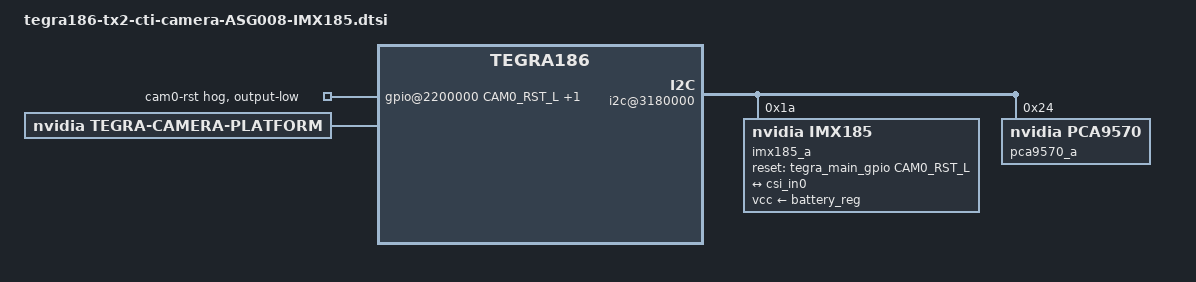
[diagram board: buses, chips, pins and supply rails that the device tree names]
    

#include <t18x-common-platforms/tegra186-tx2-cti-camera-base.dtsi>
#include "dt-bindings/clock/tegra186-clock.h"


/* camera control gpio definitions */

#define CAM0_RST_L  TEGRA_MAIN_GPIO(R, 5)
#define CAM0_PWDN   TEGRA_MAIN_GPIO(R, 0)


/ {
    
    gpio@2200000 {
        camera-control-output-low {
            gpio-hog;
            output-low;
            gpios = <CAM0_RST_L 0 CAM0_PWDN 0>;
            label = "cam0-rst", "cam0-pwdn";
        };
    };


/**********************SENSORS******************************************************************/

	i2c@3180000 {   
        imx185_a@1a {
            compatible = "nvidia,imx185";
            reg = <0x1a>;
            devnode = "video0";

            /* Physical dimensions of sensor */
            physical_w = "15";
            physical_h = "12.5";
            clocks = <&tegra_car TEGRA186_CLK_EXTPERIPH1>,
                     <&tegra_car TEGRA186_CLK_PLLP_OUT0>;
            clock-names = "extperiph1", "pllp_grtba";
            mclk = "extperiph1";
            sensor_model = "imx185";

            post_crop_frame_drop = "0";
            use_decibel_gain = "true";
            delayed_gain = "true";
            use_sensor_mode_id = "true";


            reset-gpios = <&tegra_main_gpio CAM0_RST_L GPIO_ACTIVE_HIGH>;
            vcc-supply = <&battery_reg>;
            vcc_lp = "vcc";

            mode0 {/*mode IMX185_MODE_1920X1080_CROP_30FPS*/
                    mclk_khz = "37125";
                    num_lanes = "4";
                    tegra_sinterface = "serial_a";
                    discontinuous_clk = "no";
                    dpcm_enable = "false";
                    cil_settletime = "0";
                    dynamic_pixel_bit_depth = "12";
                    csi_pixel_bit_depth = "12";
                    mode_type = "bayer";
                    pixel_phase = "rggb";
                    pixel_t = "bayer_rggb";

                    active_w = "1920";
                    active_h = "1080";
                    readout_orientation = "0";
                    line_length = "2200";
                    inherent_gain = "1";
                    mclk_multiplier = "2";
                    pix_clk_hz = "74250000";

                    min_gain_val = "0"; /* dB */
                    max_gain_val = "48"; /* dB */
                    min_hdr_ratio = "1";
                    max_hdr_ratio = "1";
                    min_framerate = "1.5";
                    max_framerate = "30";
                    min_exp_time = "30";
                    max_exp_time = "660000";
                    embedded_metadata_height = "1";
            };


            mode1 {/*mode IMX185_MODE_1920X1080_CROP_10BIT_30FPS*/
                    mclk_khz = "37125";
                    num_lanes = "4";
                    tegra_sinterface = "serial_a";
                    discontinuous_clk = "no";
                    dpcm_enable = "false";
                    cil_settletime = "0";
                    dynamic_pixel_bit_depth = "10";
                    csi_pixel_bit_depth = "10";
                    mode_type = "bayer";
                    pixel_phase = "rggb";
                    pixel_t = "bayer_rggb";

                    active_w = "1920";
                    active_h = "1080";
                    readout_orientation = "0";
                    line_length = "2640";
                    inherent_gain = "1";
                    mclk_multiplier = "2.4";
                    pix_clk_hz = "89100000";

                    min_gain_val = "0";
                    max_gain_val = "48";
                    min_hdr_ratio = "1";
                    max_hdr_ratio = "1";
                    min_framerate = "1.5";
                    max_framerate = "30";
                    min_exp_time = "30";
                    max_exp_time = "660000";
                    embedded_metadata_height = "1";
            };
            mode2 {/*mode IMX185_MODE_1920X1080_CROP_60FPS*/
                    mclk_khz = "37125";
                    num_lanes = "4";
                    tegra_sinterface = "serial_a";
                    discontinuous_clk = "no";
                    dpcm_enable = "false";
                    cil_settletime = "0";
                    dynamic_pixel_bit_depth = "12";
                    csi_pixel_bit_depth = "12";
                    mode_type = "bayer";
                    pixel_phase = "rggb";
                    pixel_t = "bayer_rggb";
                    active_w = "1920";
                    active_h = "1080";
                    readout_orientation = "0";
                    line_length = "2200";
                    inherent_gain = "1";
                    mclk_multiplier = "4";
                    pix_clk_hz = "148500000";

                    min_gain_val = "0";
                    max_gain_val = "48";
                    min_hdr_ratio = "1";
                    max_hdr_ratio = "1";
                    min_framerate = "1.5";
                    max_framerate = "60";
                    min_exp_time = "30";
                    max_exp_time = "660000";
                    embedded_metadata_height = "1";
                };
                mode3 {/*mode IMX185_MODE_1920X1080_CROP_10BIT_60FPS*/
                    mclk_khz = "37125";
                    num_lanes = "4";
                    tegra_sinterface = "serial_a";
                    discontinuous_clk = "no";
                    dpcm_enable = "false";
                    cil_settletime = "0";
                    dynamic_pixel_bit_depth = "10";
                    csi_pixel_bit_depth = "10";
                    mode_type = "bayer";
                    pixel_phase = "rggb";
                    pixel_t = "bayer_rggb";
                    active_w = "1920";
                    active_h = "1080";
                    readout_orientation = "0";
                    line_length = "2640";
                    inherent_gain = "1";
                    mclk_multiplier = "4.8";
                    pix_clk_hz = "178200000";

                    min_gain_val = "0";
                    max_gain_val = "48";
                    min_hdr_ratio = "1";
                    max_hdr_ratio = "1";
                    min_framerate = "1.5";
                    max_framerate = "60";
                    min_exp_time = "30";
                    max_exp_time = "660000";
                    embedded_metadata_height = "1";
                };
                mode4 {/*mode IMX185_MODE_1920X1080_CROP_HDR_30FPS*/
                    mclk_khz = "37125";
                    num_lanes = "4";
                    tegra_sinterface = "serial_a";
                    discontinuous_clk = "no";
                    dpcm_enable = "false";
                    cil_settletime = "0";
                    dynamic_pixel_bit_depth = "16";
                    csi_pixel_bit_depth = "12";
                    mode_type = "bayer_wdr_pwl";
                    pixel_phase = "rggb";
                    active_w = "1920";
                    active_h = "1080";
                    readout_orientation = "0";
                    line_length = "2200";
                    inherent_gain = "1";
                    mclk_multiplier = "2";
                    pix_clk_hz = "74250000";

                    min_gain_val = "0";
                    max_gain_val = "12";
                    min_hdr_ratio = "16";
                    max_hdr_ratio = "16";
                    min_framerate = "1.5";
                    max_framerate = "30";
                    min_exp_time = "30";
                    max_exp_time = "660000";
                    embedded_metadata_height = "1";

                    /* WDR related settings */
                    num_control_point = "4";
                    control_point_x_0 = "0";
                    control_point_x_1 = "2048";
                    control_point_x_2 = "16384";
                    control_point_x_3 = "65536";
                    control_point_y_0 = "0";
                    control_point_y_1 = "2048";
                    control_point_y_2 = "2944";
                    control_point_y_3 = "3712";
                };



            ports {
                #address-cells = <1>;
                #size-cells = <0>;

                port@0 {
                    reg = <0>;
                    imx185_out0: endpoint {
                        csi-port = <0>;
                        bus-width = <4>;
                        remote-endpoint = <&csi_in0>;
                    };
                };
            };
        };

        pca9570_a@24 {
            compatible = "nvidia,pca9570";
            reg = <0x24>;
            channel = "a";
            drive_ic= "DRV8838";
        };

    };

/**********************VI******************************************************************/

     host1x {
        vi@15700000 {
            num-channels = <1>; //set number of channels
            status = "okay";
            ports {
                port@0 {
                    status = "okay";
                    endpoint {
                        status = "okay";
                        csi-port = <0>;
                        bus-width = <4>;
                        remote-endpoint = <&csi_out0>; 
                    };
                };
            };
        }; 

/**********************CSI******************************************************************/
        nvcsi@150c0000 {
            num-channels = <1>;

            channel@0 {
                status = "okay";
                ports {
                     port@0 {
                        status = "okay";
                        endpoint@0 {
                            csi-port = <0>;
                            bus-width = <4>;
                            remote-endpoint = <&imx185_out0>; //should be sensor port under i2c endpoint
                            status = "okay";

                        };
                    };
                    port@1 {
                        status = "okay";
                        endpoint@1 {
                            status = "okay";
                            remote-endpoint = <&vi_in0>; 
                        };
                    };
                };
            };
        };
    };
    lens_imx274@A6V26 {
        min_focus_distance = "0.0";
        hyper_focal = "0.0";
        focal_length = "5.00";
        f_number = "2.0";
        aperture = "2.2";
    };

/**********************CAMERA PLATFORM*************************************************************/

    tegra-camera-platform {
        compatible = "nvidia, tegra-camera-platform";
        /**
        * Physical settings to calculate max ISO BW
        *
        * num_csi_lanes = <>;
        * Total number of CSI lanes when all cameras are active
        *
        * max_lane_speed = <>;
        * Max lane speed in Kbit/s
        *
        * min_bits_per_pixel = <>;
        * Min bits per pixel
        *
        * vi_peak_byte_per_pixel = <>;
        * Max byte per pixel for the VI ISO case
        *
        * vi_bw_margin_pct = <>;
        * Vi bandwidth margin in percentage
        *
        * max_pixel_rate = <>;
        * Max pixel rate in Kpixel/s for the ISP ISO case
        * Set this to the highest pix_clk_hz out of all available modes.
        *
        * isp_peak_byte_per_pixel = <>;
        * Max byte per pixel for the ISP ISO case
        *
        * isp_bw_margin_pct = <>;
        * Isp bandwidth margin in percentage
        */
        num_csi_lanes = <4>;
        max_lane_speed = <1500000>;
        min_bits_per_pixel = <10>;
        vi_peak_byte_per_pixel = <2>;
        vi_bw_margin_pct = <25>;
        max_pixel_rate = <750000>;
        isp_peak_byte_per_pixel = <5>;
        isp_bw_margin_pct = <25>;

        /**
        * The general guideline for naming badge_info contains 3 parts, and is as follows,
        * The first part is the camera_board_id for the module; if the module is in a FFD
        * platform, then use the platform name for this part.
        * The second part contains the position of the module, ex. “rear” or “front”.
        * The third part contains the last 6 characters of a part number which is found
        * in the module's specsheet from the vender.
        */
        modules {

            module0 {
                badge = "imx185_bottom_liimx185";
                position = "bottom";
                orientation = "0";
                status = "okay";
                drivernode0 {
                    status = "okay";
                    pcl_id = "v4l2_sensor";
                    devname = "imx185 2-001a";
                    proc-device-tree = "/proc/device-tree/i2c@3180000/imx185_a@1a";
                };
                drivernode1 {
                    status = "okay";
                    pcl_id = "v4l2_lens";
                    proc-device-tree = "/proc/device-tree/lens_imx274@A6V26/";
                };
            };
        };
    };
};
